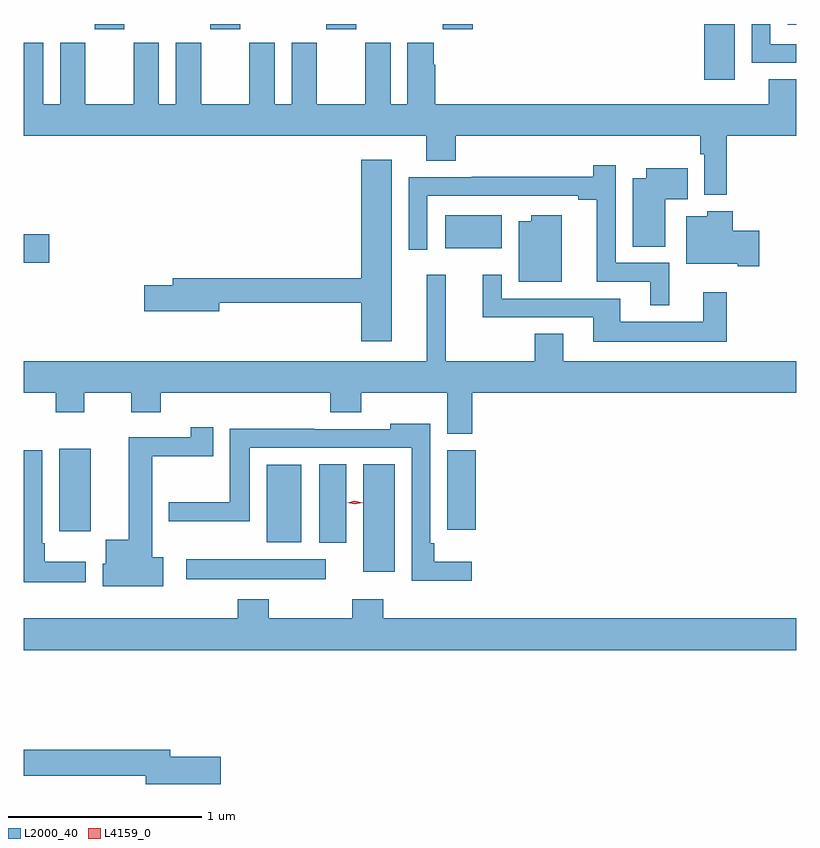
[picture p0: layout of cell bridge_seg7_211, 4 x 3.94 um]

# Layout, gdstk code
import gdstk
lib = gdstk.Library(unit=1e-6, precision=1e-09)
def R(c, l, rs):  # rectangles x0, y0, x1, y1
    for r in rs: c.add(gdstk.rectangle(r[:2], r[2:], *l))
def A(c, l, x, y, w, h, nx, ny, dx, dy):  # array of equal rectangles
    R(c, l, [(x+i*dx, y+j*dy, x+i*dx+w, y+j*dy+h) for i in range(nx) for j in range(ny)])
def P(c, l, *ps):  # polygons
    for p in ps: c.add(gdstk.Polygon(p, *l))
L2000_40 = (2000, 40)
L4159_0 = (4159, 0)

bridge_seg7_211 = lib.new_cell('bridge_seg7_211')
A(bridge_seg7_211, L2000_40, 312.487, 1003.833, 0.155, 0.026, 3, 1, 0.6, 0)
R(bridge_seg7_211, L2000_40, [(312.963,1000.982,313.684,1001.086), (313.88,1001.022,314.041,1001.579), (313.652,1001.171,313.792,1001.579), (313.379,1001.174,313.558,1001.575), (312.305,1001.232,312.466,1001.659), (314.315,1001.238,314.462,1001.652), (312.121,1002.623,312.253,1002.77), (314.303,1002.698,314.596,1002.868), (315.644,1003.569,315.802,1003.859), (314.291,1003.833,314.447,1003.859), (316.079,1003.856,316.121,1003.859)])
P(bridge_seg7_211, L2000_40, [(316.121,1003.755),(315.987,1003.755),(315.987,1003.859),(315.891,1003.859),(315.891,1003.659),(316.121,1003.659)],
  [(314.108,1003.762),(314.108,1003.444),(314.02,1003.444),(314.02,1003.762),(313.889,1003.762),(313.889,1003.444),(313.639,1003.444),(313.639,1003.762),(313.508,1003.762),(313.508,1003.444),(313.42,1003.444),(313.42,1003.762),(313.289,1003.762),(313.289,1003.444),(313.039,1003.444),(313.039,1003.762),(312.908,1003.762),(312.908,1003.444),(312.82,1003.444),(312.82,1003.762),(312.689,1003.762),(312.689,1003.444),(312.439,1003.444),(312.439,1003.762),(312.308,1003.762),(312.308,1003.444),(312.22,1003.444),(312.22,1003.762),(312.121,1003.762),(312.121,1003.28),(314.204,1003.28),(314.204,1003.15),(314.357,1003.15),(314.357,1003.28),(315.625,1003.28),(315.625,1003.184),(315.645,1003.184),(315.645,1002.974),(315.761,1002.974),(315.761,1003.28),(316.121,1003.28),(316.121,1003.574),(315.98,1003.574),(315.98,1003.444),(314.252,1003.444),(314.252,1003.649),(314.245,1003.649),(314.245,1003.762)],
  [(314.026,1003.156),(313.868,1003.156),(313.868,1002.542),(312.893,1002.542),(312.893,1002.506),(312.744,1002.506),(312.744,1002.371),(313.132,1002.371),(313.132,1002.414),(313.868,1002.414),(313.868,1002.216),(314.026,1002.216)],
  [(315.463,1002.621),(315.186,1002.621),(315.186,1003.126),(315.07,1003.126),(315.07,1003.067),(314.44,1003.067),(314.44,1003.065),(314.115,1003.065),(314.115,1002.69),(314.211,1002.69),(314.211,1002.969),(314.993,1002.969),(314.993,1002.949),(315.089,1002.949),(315.089,1002.525),(315.365,1002.525),(315.365,1002.401),(315.463,1002.401)],
  [(315.442,1002.95),(315.56,1002.95),(315.56,1003.111),(315.344,1003.111),(315.344,1003.06),(315.275,1003.06),(315.275,1002.706),(315.442,1002.706)],
  [(315.931,1002.788),(315.794,1002.788),(315.794,1002.889),(315.66,1002.889),(315.66,1002.862),(315.551,1002.862),(315.551,1002.617),(315.818,1002.617),(315.818,1002.605),(315.931,1002.605)],
  [(314.908,1002.868),(314.75,1002.868),(314.75,1002.838),(314.684,1002.838),(314.684,1002.524),(314.908,1002.524)],
  [(314.444,1001.948),(316.121,1001.948),(316.121,1002.112),(314.914,1002.112),(314.914,1002.254),(314.767,1002.254),(314.767,1002.112),(314.306,1002.112),(314.306,1002.559),(314.207,1002.559),(314.207,1002.112),(312.121,1002.112),(312.121,1001.948),(312.286,1001.948),(312.286,1001.849),(312.433,1001.849),(312.433,1001.948),(312.677,1001.948),(312.677,1001.849),(312.83,1001.849),(312.83,1001.948),(313.709,1001.948),(313.709,1001.849),(313.869,1001.849),(313.869,1001.948),(314.315,1001.948),(314.315,1001.737),(314.444,1001.737)],
  [(315.763,1002.469),(315.641,1002.469),(315.641,1002.316),(315.211,1002.316),(315.211,1002.435),(314.595,1002.435),(314.595,1002.559),(314.498,1002.559),(314.498,1002.339),(315.071,1002.339),(315.071,1002.212),(315.763,1002.212)],
  [(314.44,1001.074),(314.246,1001.074),(314.246,1001.17),(314.226,1001.17),(314.226,1001.788),(314.019,1001.788),(314.019,1001.76),(313.625,1001.76),(313.625,1001.762),(313.187,1001.762),(313.187,1001.382),(312.872,1001.382),(312.872,1001.282),(313.291,1001.282),(313.291,1001.664),(314.13,1001.664),(314.13,1000.976),(314.44,1000.976)],
  [(312.844,1001.096),(312.787,1001.096),(312.787,1001.62),(313.102,1001.62),(313.102,1001.77),(312.985,1001.77),(312.985,1001.719),(312.665,1001.719),(312.665,1001.188),(312.545,1001.188),(312.545,1001.064),(312.53,1001.064),(312.53,1000.946),(312.844,1000.946)],
  [(312.442,1001.074),(312.229,1001.074),(312.229,1001.17),(312.216,1001.17),(312.216,1001.65),(312.121,1001.65),(312.121,1000.967),(312.442,1000.967)],
  [(316.121,1000.78),(313.982,1000.78),(313.982,1000.879),(313.822,1000.879),(313.822,1000.78),(313.389,1000.78),(313.389,1000.879),(313.229,1000.879),(313.229,1000.78),(312.121,1000.78),(312.121,1000.616),(316.121,1000.616)],
  [(313.141,1000.064),(312.88,1000.064),(312.88,1000.1),(312.121,1000.1),(312.121,999.964),(312.752,999.964),(312.752,999.922),(313.141,999.922)])
P(bridge_seg7_211, L4159_0, [(313.836,1001.37),(313.795,1001.38),(313.794,1001.38),(313.795,1001.38),(313.836,1001.39),(313.876,1001.38),(313.877,1001.38),(313.876,1001.38)])

lib.write_gds('bridge_seg7_211.gds')
